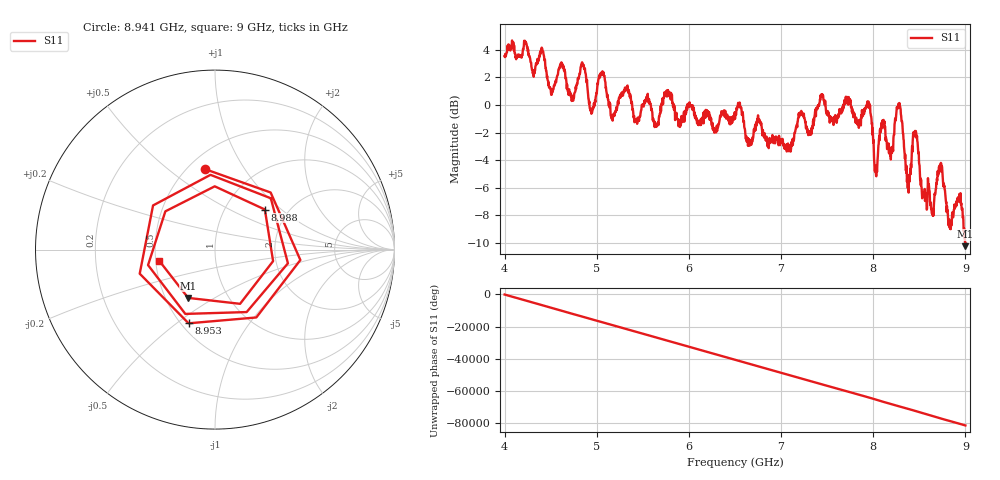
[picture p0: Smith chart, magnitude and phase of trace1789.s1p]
! Created with skrf 1.8.0 (http://scikit-rf.org).
# Hz S RI R 50.0
!freq ReS11 ImS11
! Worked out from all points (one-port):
!   1601 points, 4 GHz to 9 GHz, reference 50 ohm
!   lowest |S11| = -10.2 dB at 8.997 GHz (marker M1), VSWR 1.89, Z = 32.5 - j19.3 ohm
!   |S11| at or under -10 dB: 8.995975 GHz to 8.999957 GHz (3.982 MHz wide, 0.0443 % of centre)
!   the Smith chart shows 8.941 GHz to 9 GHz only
!   S11 on the Smith chart (normalised r, x): 8.941 GHz: 0.60, +0.68; 8.953 GHz: 0.55, -0.55; 8.988 GHz: 1.53, +0.78; 9 GHz: 0.52, -0.07
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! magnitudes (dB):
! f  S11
! 4 GHz  3.5
! 4.406 GHz  4.1
! 4.506 GHz  0.7
! 4.625 GHz  2.8
! 4.728 GHz  0.3
! 4.853 GHz  2.9
! 4.941 GHz  -0.6
! 5.05 GHz  2.4
! 5.172 GHz  -1.1
! 5.25 GHz  0.6
! 5.875 GHz  -1.0
! 6.5 GHz  -1.0
! 7.125 GHz  -2.5
! 7.441 GHz  0.7
! 7.75 GHz  0.2
! 7.95 GHz  0.2
! 8.031 GHz  -5.1
! 8.278 GHz  0.0
! 8.375 GHz  -6.0
! 8.456 GHz  -2.3
! 8.559 GHz  -6.1
! 8.725 GHz  -4.3
! 8.828 GHz  -8.9
! 8.941 GHz  -6.9
! 8.953 GHz  -7.2
! 8.988 GHz  -9.0
! 8.997 GHz  -10.2
! 9 GHz  -10.0
